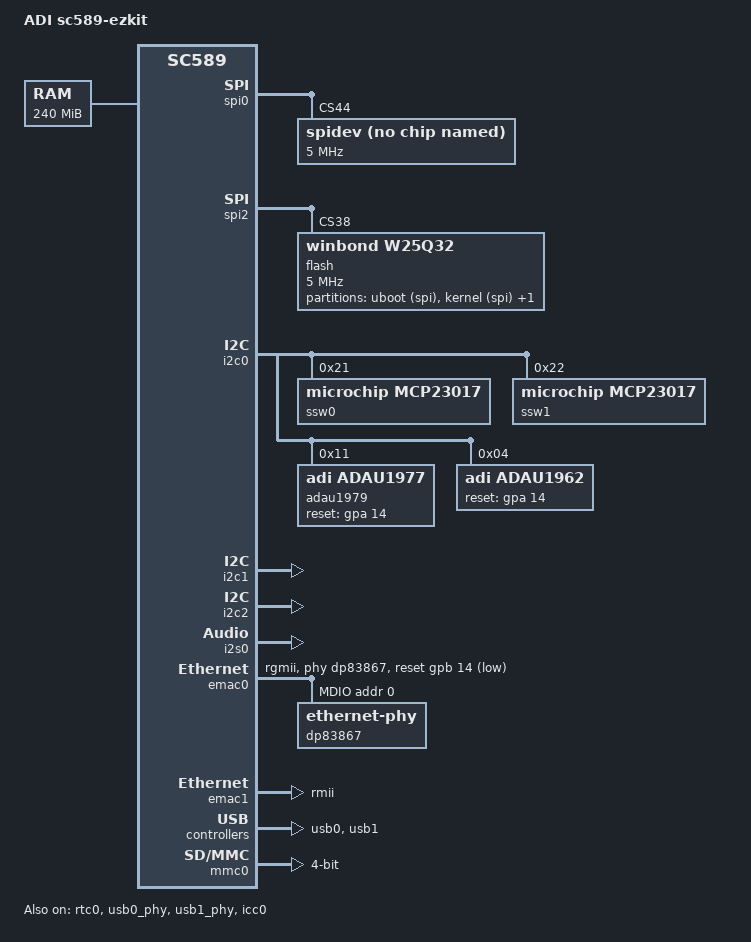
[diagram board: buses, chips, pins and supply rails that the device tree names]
/*
 * Device tree for ADI sc589-ezkit board
 *
 * Copyright 2014 - 2018 Analog Devices Inc.
 *
 * Licensed under the GPL-2 or later.
 *
 */

/dts-v1/;

#include <dt-bindings/net/ti-dp83867.h>
#include "sc58x.dtsi"

/ {
	model = "ADI sc589-ezkit";
	compatible = "adi,sc589-ezkit", "adi,sc58x";

	aliases {
	};

	memory@C3000000 {
		device_type = "memory";
		reg = <0xC3000000 0xF000000>;
	};

	scb {
		button0: button@0 {
			compatible = "adi,button-led";
			button_gpio = <80>;
			led_gpio = <77>;
		};
		button1: button@1 {
			compatible = "adi,button-led";
			button_gpio = <81>;
			led_gpio = <78>;
		};

		sound {
			compatible = "sc5xx,asoc-card";
			adi,cpu-dai = <&i2s0>;
			adi,codec = <&adau1962>, <&adau1979>;
		};
	};
};

&rtc0 {
	status = "okay";
};

&spi0 {
	pinctrl-names = "default";
	pinctrl-0 = <&spi0_default>;
	status = "okay";

	spidev {
		#address-cells = <1>;
		#size-cells = <1>;
		compatible = "rohm,dh2228fv";
		spi-max-frequency = <5000000>;
		reg = <44>;
		};
};

&spi2 {
	pinctrl-names = "default";
	pinctrl-0 = <&spi2_quad>;
	status = "okay";

	flash: w25q32@0 {
		#address-cells = <1>;
		#size-cells = <1>;
		compatible = "winbond,w25q32";
		spi-max-frequency = <5000000>;
		reg = <38>;
		spi-cpol;
		spi-cpha;
		spi-rx-bus-width = <4>;
		dma-mode;

		partition@0 {
			label = "uboot (spi)";
			reg = <0x0 0x80000>;
		};
		partition@1 {
			label = "kernel (spi)";
			reg = <0x80000 0x580000>;
		};
		partition@2 {
			label = "root file system (spi)";
			reg = <0x600000 0xa00000>;
		};
	};
};

&i2c0 {
	status = "okay";
	ssw0: gpio@0x21 {
		compatible = "microchip,mcp23017";
		gpio-controller;
		#gpio-cells = <2>;
		reg = <0x21>;
	};
	ssw1: gpio@0x22 {
		compatible = "microchip,mcp23017";
		gpio-controller;
		#gpio-cells = <2>;
		reg = <0x22>;
	};
	adau1979: adau1979@0x11 {
		compatible = "adi,adau1977";
		reg = <0x11>;
		reset-gpio = <&gpa 14 0>;
	};
	adau1962: adau1962@0x4 {
		compatible = "adi,adau1962";
		reg = <0x4>;
		reset-gpio = <&gpa 14 0>;
	};
};

&i2c1 {
	status = "okay";
};

&i2c2 {
	status = "okay";
};

&i2s0 {
	status = "okay";
};

&emac0 {
	snps,reset-gpio = <&gpb 14 0>;
	snps,reset-active-low;
	snps,reset-delays-us = <0 200 500>;
	phy-handle = <&dp83867>;
	phy-mode = "rgmii";
	pinctrl-names = "default";
	pinctrl-0 = <&eth0_default>;
	status = "okay";
	mdio0 {
		compatible = "snps,dwmac-mdio";
		#address-cells = <1>;
		#size-cells = <0>;
		dp83867: ethernet-phy@0 {
			reg = <0>;
			ti,rx-internal-delay = <DP83867_RGMIIDCTL_2_00_NS>;
			ti,tx-internal-delay = <DP83867_RGMIIDCTL_2_00_NS>;
			ti,fifo-depth = <DP83867_PHYCR_FIFO_DEPTH_8_B_NIB>;
			ti,dp83867-rxctrl-strap-quirk;
		};
	};
};

&emac1 {
	phy-mode = "rmii";
	pinctrl-names = "default";
	pinctrl-0 = <&eth1_default>;
	status = "okay";
};

&usb0_phy {
	status = "okay";
};

&usb0 {
	mode = <3>; /* OTG port */
	status = "okay";
};

&usb1_phy {
	status = "okay";
};

&usb1 {
	mode = <2>; /* Device port */
	status = "okay";
};

&mmc0 {
	bus-width = <4>;
	pinctrl-names = "default";
	pinctrl-0 = <&mmc0_8bgrp>;
	supports-highspeed;
	status = "okay";
};

&icc0 {
	status = "okay";
};
